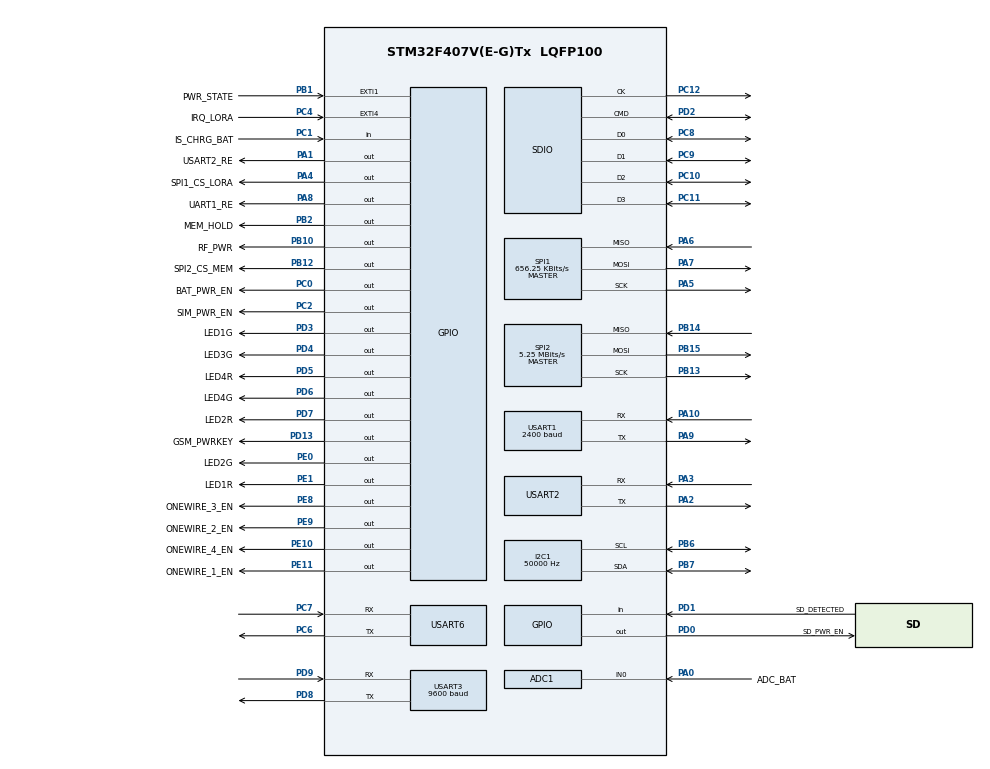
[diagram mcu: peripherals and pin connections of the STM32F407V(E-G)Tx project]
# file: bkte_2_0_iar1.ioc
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ADC1.Channel-0\#ChannelRegularConversion=ADC_CHANNEL_0
ADC1.NbrOfConversion=1
ADC1.NbrOfConversionFlag=1
ADC1.Rank-0\#ChannelRegularConversion=1
ADC1.SamplingTime-0\#ChannelRegularConversion=ADC_SAMPLETIME_3CYCLES
ADC1.master=1
Dma.Request0=SDIO_RX
Dma.Request1=SDIO_TX
Dma.Request2=USART6_RX
Dma.Request3=USART6_TX
Dma.Request4=USART1_RX
Dma.Request5=SPI2_RX
Dma.Request6=SPI2_TX
Dma.Request7=USART2_RX
Dma.SDIO_RX.0.Direction=DMA_PERIPH_TO_MEMORY
Dma.SDIO_RX.0.FIFOMode=DMA_FIFOMODE_ENABLE
Dma.SDIO_RX.0.FIFOThreshold=DMA_FIFO_THRESHOLD_FULL
Dma.SDIO_RX.0.Instance=DMA2_Stream3
Dma.SDIO_RX.0.MemBurst=DMA_MBURST_INC4
Dma.SDIO_RX.0.MemDataAlignment=DMA_MDATAALIGN_WORD
Dma.SDIO_RX.0.MemInc=DMA_MINC_ENABLE
Dma.SDIO_RX.0.Mode=DMA_PFCTRL
Dma.SDIO_RX.0.PeriphBurst=DMA_PBURST_INC4
Dma.SDIO_RX.0.PeriphDataAlignment=DMA_PDATAALIGN_WORD
Dma.SDIO_RX.0.PeriphInc=DMA_PINC_DISABLE
Dma.SDIO_RX.0.Priority=DMA_PRIORITY_LOW
Dma.SDIO_TX.1.Direction=DMA_MEMORY_TO_PERIPH
Dma.SDIO_TX.1.FIFOMode=DMA_FIFOMODE_ENABLE
Dma.SDIO_TX.1.FIFOThreshold=DMA_FIFO_THRESHOLD_FULL
Dma.SDIO_TX.1.Instance=DMA2_Stream6
Dma.SDIO_TX.1.MemBurst=DMA_MBURST_INC4
Dma.SDIO_TX.1.MemDataAlignment=DMA_MDATAALIGN_WORD
Dma.SDIO_TX.1.MemInc=DMA_MINC_ENABLE
Dma.SDIO_TX.1.Mode=DMA_PFCTRL
Dma.SDIO_TX.1.PeriphBurst=DMA_PBURST_INC4
Dma.SDIO_TX.1.PeriphDataAlignment=DMA_PDATAALIGN_WORD
Dma.SDIO_TX.1.PeriphInc=DMA_PINC_DISABLE
Dma.SDIO_TX.1.Priority=DMA_PRIORITY_LOW
Dma.SPI2_RX.5.Direction=DMA_PERIPH_TO_MEMORY
Dma.SPI2_RX.5.FIFOMode=DMA_FIFOMODE_DISABLE
Dma.SPI2_RX.5.Instance=DMA1_Stream3
Dma.SPI2_RX.5.MemDataAlignment=DMA_MDATAALIGN_BYTE
Dma.SPI2_RX.5.MemInc=DMA_MINC_ENABLE
Dma.SPI2_RX.5.Mode=DMA_NORMAL
Dma.SPI2_RX.5.PeriphDataAlignment=DMA_PDATAALIGN_BYTE
Dma.SPI2_RX.5.PeriphInc=DMA_PINC_DISABLE
Dma.SPI2_RX.5.Priority=DMA_PRIORITY_LOW
Dma.SPI2_TX.6.Direction=DMA_MEMORY_TO_PERIPH
Dma.SPI2_TX.6.FIFOMode=DMA_FIFOMODE_DISABLE
Dma.SPI2_TX.6.Instance=DMA1_Stream4
Dma.SPI2_TX.6.MemDataAlignment=DMA_MDATAALIGN_BYTE
Dma.SPI2_TX.6.MemInc=DMA_MINC_ENABLE
Dma.SPI2_TX.6.Mode=DMA_NORMAL
Dma.SPI2_TX.6.PeriphDataAlignment=DMA_PDATAALIGN_BYTE
Dma.SPI2_TX.6.PeriphInc=DMA_PINC_DISABLE
Dma.SPI2_TX.6.Priority=DMA_PRIORITY_LOW
Dma.USART1_RX.4.Direction=DMA_PERIPH_TO_MEMORY
Dma.USART1_RX.4.FIFOMode=DMA_FIFOMODE_DISABLE
Dma.USART1_RX.4.Instance=DMA2_Stream2
Dma.USART1_RX.4.MemDataAlignment=DMA_MDATAALIGN_HALFWORD
Dma.USART1_RX.4.MemInc=DMA_MINC_ENABLE
Dma.USART1_RX.4.Mode=DMA_NORMAL
Dma.USART1_RX.4.PeriphDataAlignment=DMA_PDATAALIGN_HALFWORD
Dma.USART1_RX.4.PeriphInc=DMA_PINC_DISABLE
Dma.USART1_RX.4.Priority=DMA_PRIORITY_VERY_HIGH
Dma.USART2_RX.7.Direction=DMA_PERIPH_TO_MEMORY
Dma.USART2_RX.7.FIFOMode=DMA_FIFOMODE_ENABLE
Dma.USART2_RX.7.FIFOThreshold=DMA_FIFO_THRESHOLD_FULL
Dma.USART2_RX.7.Instance=DMA1_Stream5
Dma.USART2_RX.7.MemBurst=DMA_MBURST_SINGLE
Dma.USART2_RX.7.MemDataAlignment=DMA_MDATAALIGN_BYTE
Dma.USART2_RX.7.MemInc=DMA_MINC_ENABLE
Dma.USART2_RX.7.Mode=DMA_NORMAL
Dma.USART2_RX.7.PeriphBurst=DMA_PBURST_SINGLE
Dma.USART2_RX.7.PeriphDataAlignment=DMA_PDATAALIGN_BYTE
Dma.USART2_RX.7.PeriphInc=DMA_PINC_DISABLE
Dma.USART2_RX.7.Priority=DMA_PRIORITY_LOW
Dma.USART6_RX.2.Direction=DMA_PERIPH_TO_MEMORY
Dma.USART6_RX.2.FIFOMode=DMA_FIFOMODE_DISABLE
Dma.USART6_RX.2.Instance=DMA2_Stream1
Dma.USART6_RX.2.MemDataAlignment=DMA_MDATAALIGN_BYTE
Dma.USART6_RX.2.MemInc=DMA_MINC_ENABLE
Dma.USART6_RX.2.Mode=DMA_CIRCULAR
Dma.USART6_RX.2.PeriphDataAlignment=DMA_PDATAALIGN_BYTE
Dma.USART6_RX.2.PeriphInc=DMA_PINC_DISABLE
Dma.USART6_RX.2.Priority=DMA_PRIORITY_LOW
Dma.USART6_TX.3.Direction=DMA_MEMORY_TO_PERIPH
Dma.USART6_TX.3.FIFOMode=DMA_FIFOMODE_DISABLE
Dma.USART6_TX.3.Instance=DMA2_Stream7
Dma.USART6_TX.3.MemDataAlignment=DMA_MDATAALIGN_BYTE
Dma.USART6_TX.3.MemInc=DMA_MINC_ENABLE
Dma.USART6_TX.3.Mode=DMA_NORMAL
Dma.USART6_TX.3.PeriphDataAlignment=DMA_PDATAALIGN_BYTE
Dma.USART6_TX.3.PeriphInc=DMA_PINC_DISABLE
Dma.USART6_TX.3.Priority=DMA_PRIORITY_LOW
FATFS.BSP.number=1
FATFS.USE_DMA_CODE_SD=1
FATFS._MAX_SS=4096
FATFS._MIN_SS=512
FATFS0.BSP.STBoard=false
FATFS0.BSP.api=Unknown
FATFS0.BSP.i2caddr=0
FATFS0.BSP.instance=PD1
FATFS0.BSP.ip=GPIO
FATFS0.BSP.mode=Input
FATFS0.BSP.name=Detect_SDIO
FATFS0.BSP.solution=PD1
FREERTOS.BinarySemaphores01=semLoraRxPckg,Dynamic,NULL;semCreateWebPckg,Dynamic,NULL
FREERTOS.MEMORY_ALLOCATION=2
FREERTOS.Mutexes01=mutexWriteToEnergyBuf,Dynamic,NULL;mutexWeb,Dynamic,NULL;mutexRTC,Dynamic,NULL;mutexSD,Dynamic,NULL;mutexSpiFlash,Dynamic,NULL
FREERTOS.Queues01=queueWebPckg,3,WebPckg*,0,Dynamic,NULL,NULL
FREERTOS.Tasks01=getEnergy,0,300,taskGetEnergy,As weak,NULL,Dynamic,NULL,NULL;getNewBin,0,300,taskGetNewBin,As weak,NULL,Dynamic,NULL,NULL;keepAlive,0,300,taskKeepAlive,As weak,NULL,Dynamic,NULL,NULL;webExchange,0,300,taskWebExchange,As weak,NULL,Dynamic,NULL,NULL;getTemp,0,300,taskGetTemp,As weak,NULL,Dynamic,NULL,NULL;manageIWDG,0,128,taskManageIWDG,As weak,NULL,Dynamic,NULL,NULL;lora,0,256,taskLora,As weak,NULL,Dynamic,NULL,NULL;createWebPckg,0,300,taskCreateWebPckg,As weak,NULL,Dynamic,NULL,NULL;wirelessSens,0,300,taskWirelessSens,As weak,NULL,Dynamic,NULL,NULL
FREERTOS.Timers01=timerPowerOff,timerPowerOff_callback,osTimerOnce,As weak,NULL,Dynamic,NULL
FREERTOS.configTIMER_QUEUE_LENGTH=1
FREERTOS.configTIMER_TASK_STACK_DEPTH=128
FREERTOS.configTOTAL_HEAP_SIZE=15000
FREERTOS.configUSE_TIMERS=1
I2C1.ClockSpeed=50000
IWDG.Prescaler=IWDG_PRESCALER_256
Mcu.Family=STM32F4
Mcu.Name=STM32F407V(E-G)Tx
Mcu.Package=LQFP100
NVIC.DMA1_Stream3_IRQn=true\:5\:0\:true\:false\:true\:false\:false\:true
NVIC.DMA1_Stream4_IRQn=true\:5\:0\:true\:false\:true\:false\:false\:true
NVIC.DMA1_Stream5_IRQn=true\:5\:0\:false\:false\:true\:true\:false\:true
NVIC.DMA2_Stream1_IRQn=true\:5\:0\:true\:false\:true\:false\:false\:true
NVIC.DMA2_Stream2_IRQn=true\:5\:0\:true\:false\:true\:false\:false\:true
NVIC.DMA2_Stream3_IRQn=true\:5\:0\:true\:false\:true\:false\:false\:true
NVIC.DMA2_Stream6_IRQn=true\:5\:0\:true\:false\:true\:false\:false\:true
NVIC.DMA2_Stream7_IRQn=true\:5\:0\:true\:false\:true\:false\:false\:true
NVIC.EXTI1_IRQn=true\:5\:0\:true\:false\:true\:false\:true\:true
NVIC.EXTI4_IRQn=true\:5\:0\:true\:false\:true\:false\:true\:true
NVIC.I2C1_ER_IRQn=true\:5\:0\:true\:false\:true\:false\:true\:true
NVIC.I2C1_EV_IRQn=true\:5\:0\:true\:false\:true\:false\:true\:true
NVIC.PriorityGroup=NVIC_PRIORITYGROUP_4
NVIC.SDIO_IRQn=true\:5\:0\:true\:false\:true\:false\:true\:true
NVIC.SPI1_IRQn=true\:5\:0\:true\:false\:true\:false\:true\:true
NVIC.SPI2_IRQn=true\:5\:0\:true\:false\:true\:false\:true\:true
NVIC.TIM1_UP_TIM10_IRQn=true\:0\:0\:false\:false\:true\:false\:false\:true
NVIC.TimeBase=TIM1_UP_TIM10_IRQn
NVIC.TimeBaseIP=TIM1
NVIC.USART1_IRQn=true\:5\:0\:true\:false\:true\:false\:true\:true
NVIC.USART2_IRQn=true\:5\:0\:false\:false\:true\:true\:true\:true
NVIC.USART3_IRQn=true\:5\:0\:true\:false\:true\:false\:true\:true
NVIC.USART6_IRQn=true\:5\:0\:true\:false\:true\:false\:true\:true
PA0-WKUP.GPIO_Label=ADC_BAT
PA0-WKUP.Signal=ADCx_IN0
PA1.GPIO_Label=USART2_RE
PA1.Signal=GPIO_Output
PA10.Mode=Asynchronous
PA10.Signal=USART1_RX
PA13.Mode=Serial_Wire
PA13.Signal=SYS_JTMS-SWDIO
PA14.Mode=Serial_Wire
PA14.Signal=SYS_JTCK-SWCLK
PA2.Mode=Asynchronous
PA2.Signal=USART2_TX
PA3.Mode=Asynchronous
PA3.Signal=USART2_RX
PA4.GPIO_Label=SPI1_CS_LORA
PA4.Signal=GPIO_Output
PA5.Mode=Full_Duplex_Master
PA5.Signal=SPI1_SCK
PA6.Mode=Full_Duplex_Master
PA6.Signal=SPI1_MISO
PA7.Mode=Full_Duplex_Master
PA7.Signal=SPI1_MOSI
PA8.GPIO_Label=UART1_RE
PA8.Signal=GPIO_Output
PA9.Mode=Asynchronous
PA9.Signal=USART1_TX
PB1.GPIO_Label=PWR_STATE
PB1.Signal=GPXTI1
PB10.GPIO_Label=RF_PWR
PB10.Signal=GPIO_Output
PB12.GPIO_Label=SPI2_CS_MEM
PB12.Signal=GPIO_Output
PB13.Mode=Full_Duplex_Master
PB13.Signal=SPI2_SCK
PB14.Mode=Full_Duplex_Master
PB14.Signal=SPI2_MISO
PB15.Mode=Full_Duplex_Master
PB15.Signal=SPI2_MOSI
PB2.GPIO_Label=MEM_HOLD
PB2.Signal=GPIO_Output
PB6.Mode=I2C
PB6.Signal=I2C1_SCL
PB7.Mode=I2C
PB7.Signal=I2C1_SDA
PC0.GPIO_Label=BAT_PWR_EN
PC0.Signal=GPIO_Output
PC1.GPIO_Label=IS_CHRG_BAT
PC1.Signal=GPIO_Input
PC10.Mode=SD_4_bits_Wide_bus
PC10.Signal=SDIO_D2
PC11.Mode=SD_4_bits_Wide_bus
PC11.Signal=SDIO_D3
PC12.Mode=SD_4_bits_Wide_bus
PC12.Signal=SDIO_CK
PC14-OSC32_IN.Mode=LSE-External-Oscillator
PC14-OSC32_IN.Signal=RCC_OSC32_IN
PC15-OSC32_OUT.Mode=LSE-External-Oscillator
PC15-OSC32_OUT.Signal=RCC_OSC32_OUT
PC2.GPIO_Label=SIM_PWR_EN
PC2.Signal=GPIO_Output
PC4.GPIO_Label=IRQ_LORA
PC4.Signal=GPXTI4
PC6.Mode=Asynchronous
PC6.Signal=USART6_TX
PC7.Mode=Asynchronous
PC7.Signal=USART6_RX
PC8.Mode=SD_4_bits_Wide_bus
PC8.Signal=SDIO_D0
PC9.Mode=SD_4_bits_Wide_bus
PC9.Signal=SDIO_D1
PD0.GPIO_Label=SD_PWR_EN
PD0.Signal=GPIO_Output
PD1.GPIO_Label=SD_DETECTED
PD1.Signal=GPIO_Input
PD13.GPIO_Label=GSM_PWRKEY
PD13.Signal=GPIO_Output
PD2.Mode=SD_4_bits_Wide_bus
PD2.Signal=SDIO_CMD
PD3.GPIO_Label=LED1G
PD3.Signal=GPIO_Output
PD4.GPIO_Label=LED3G
PD4.Signal=GPIO_Output
PD5.GPIO_Label=LED4R
PD5.Signal=GPIO_Output
PD6.GPIO_Label=LED4G
PD6.Signal=GPIO_Output
PD7.GPIO_Label=LED2R
PD7.Signal=GPIO_Output
PD8.Mode=Asynchronous
PD8.Signal=USART3_TX
PD9.Mode=Asynchronous
PD9.Signal=USART3_RX
PE0.GPIO_Label=LED2G
PE0.Signal=GPIO_Output
PE1.GPIO_Label=LED1R
PE1.Signal=GPIO_Output
PE10.GPIO_Label=ONEWIRE_4_EN
PE10.Signal=GPIO_Output
PE11.GPIO_Label=ONEWIRE_1_EN
PE11.Signal=GPIO_Output
PE8.GPIO_Label=ONEWIRE_3_EN
PE8.Signal=GPIO_Output
PE9.GPIO_Label=ONEWIRE_2_EN
PE9.Signal=GPIO_Output
PH0-OSC_IN.Mode=HSE-External-Oscillator
PH0-OSC_IN.Signal=RCC_OSC_IN
PH1-OSC_OUT.Mode=HSE-External-Oscillator
PH1-OSC_OUT.Signal=RCC_OSC_OUT
ProjectManager.HeapSize=0x200
ProjectManager.StackSize=0x400
ProjectManager.TargetToolchain=EWARM V8.32
RCC.48MHZClocksFreq_Value=22400000
RCC.AHBFreq_Value=168000000
RCC.APB1CLKDivider=RCC_HCLK_DIV4
RCC.APB1Freq_Value=42000000
RCC.APB1TimFreq_Value=84000000
RCC.APB2CLKDivider=RCC_HCLK_DIV2
RCC.APB2Freq_Value=84000000
RCC.APB2TimFreq_Value=168000000
RCC.CortexFreq_Value=168000000
RCC.HCLKFreq_Value=168000000
RCC.HSE_VALUE=16000000
RCC.HSI_VALUE=16000000
RCC.PLLN=336
RCC.PLLQ=15
RCC.PLLSourceVirtual=RCC_PLLSOURCE_HSE
RCC.RCC_RTC_Clock_Source=RCC_RTCCLKSOURCE_LSE
RCC.RCC_RTC_Clock_SourceVirtual=RCC_RTCCLKSOURCE_LSE
RCC.SYSCLKFreq_VALUE=168000000
RCC.SYSCLKSource=RCC_SYSCLKSOURCE_PLLCLK
RCC.VCOOutputFreq_Value=336000000
RTC.Date=28
RTC.Format=RTC_FORMAT_BIN
RTC.Hours=23
RTC.Minutes=59
RTC.Month=RTC_MONTH_MARCH
RTC.WeekDay=RTC_WEEKDAY_SATURDAY
RTC.Year=21
SDIO.ClockDiv=25
SH.ADCx_IN0.0=ADC1_IN0,IN0
SPI1.BaudRatePrescaler=SPI_BAUDRATEPRESCALER_128
SPI1.CalculateBaudRate=656.25 KBits/s
SPI1.Direction=SPI_DIRECTION_2LINES
SPI1.Mode=SPI_MODE_MASTER
SPI1.VirtualType=VM_MASTER
SPI2.BaudRatePrescaler=SPI_BAUDRATEPRESCALER_8
SPI2.CalculateBaudRate=5.25 MBits/s
SPI2.Direction=SPI_DIRECTION_2LINES
SPI2.Mode=SPI_MODE_MASTER
SPI2.VirtualType=VM_MASTER
USART1.BaudRate=2400
USART1.VirtualMode=VM_ASYNC
USART1.WordLength=WORDLENGTH_9B
USART2.VirtualMode=VM_ASYNC
USART3.BaudRate=9600
USART3.VirtualMode=VM_ASYNC
USART6.VirtualMode=VM_ASYNC
VP_CRC_VS_CRC.Mode=CRC_Activate
VP_FATFS_VS_SDIO.Mode=SDIO
VP_FREERTOS_VS_CMSIS_V1.Mode=CMSIS_V1
VP_IWDG_VS_IWDG.Mode=IWDG_Activate
VP_RTC_VS_RTC_Activate.Mode=RTC_Enabled
VP_RTC_VS_RTC_Calendar.Mode=RTC_Calendar
VP_SYS_VS_tim1.Mode=TIM1
VP_TIM6_VS_ClockSourceINT.Mode=Enable_Timer
board=custom

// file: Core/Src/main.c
/* USER CODE BEGIN Header */
/**
  ******************************************************************************
  * @file           : main.c
  * @brief          : Main program body
  ******************************************************************************
  * @attention
  *
  * <h2><center>&copy; Copyright (c) 2020 STMicroelectronics.
  * All rights reserved.</center></h2>
  *
  * This software component is licensed by ST under Ultimate Liberty license
  * SLA0044, the "License"; You may not use this file except in compliance with
  * the License. You may obtain a copy of the License at:
  *                             www.st.com/SLA0044
  *
  ******************************************************************************
  */
/* USER CODE END Header */
#include "main.h"
#include "cmsis_os.h"
#include "adc.h"
#include "crc.h"
#include "dma.h"
#include "fatfs.h"
#include "i2c.h"
#include "iwdg.h"
#include "rtc.h"
#include "sdio.h"
#include "spi.h"
#include "tim.h"
#include "usart.h"
#include "gpio.h"

/* USER CODE BEGIN PV */
#include "../Utils/Inc/utils_bkte.h"
#include "../Drivers/Inc/simcom.h"
#include "../Utils/Inc/circularBuffer.h"
#include "fatfs.h"

CircularBuffer rxUart1CircBuf = {.buf = NULL, .max = 0};
CircularBuffer circBufAllPckgs = {.buf = NULL, .max = 0};

u8 bufPckgs[SZ_PAGE];
u8 uart1Buf[SZ_BUF_ENERGY_FROM_UART1];

BKTE bkte;
Urls urls;
/* USER CODE END PV */

void SystemClock_Config(void);
void MX_FREERTOS_Init(void);

int main(void)
{

  /* MCU Configuration--------------------------------------------------------*/

  /* Reset of all peripherals, Initializes the Flash interface and the Systick. */
  HAL_Init();

  /* Configure the system clock */
  SystemClock_Config();

  /* Initialize all configured peripherals */
  MX_GPIO_Init();
  MX_DMA_Init();
  MX_ADC1_Init();
  MX_SDIO_SD_Init();
  MX_SPI1_Init();
  MX_SPI2_Init();
  MX_FATFS_Init();
  MX_CRC_Init();
  MX_I2C1_Init();
  MX_USART3_UART_Init();
  MX_USART6_UART_Init();
  MX_RTC_Init();
  MX_IWDG_Init();
  MX_USART1_UART_Init();
  MX_TIM6_Init();
  MX_USART2_UART_Init();
  /* USER CODE BEGIN 2 */
  D(printf("OK: start version %d\r\n", BKTE_ID_FIRMWARE));
  FIRMWARE_INFO info = {.header = 0x1122334455667788,
		  .numFirmware = BKTE_ID_FIRMWARE, .verFirmware = BKTE_VER_BETA_FIRMWARE, .numTrainCar = BKTE_ID_TRAINCAR
  };
  cBufInit(&rxUart1CircBuf, uart1Buf, SZ_BUF_ENERGY_FROM_UART1, CIRC_TYPE_ENERGY_UART);
  cBufInit(&circBufAllPckgs, bufPckgs, SZ_PAGE, CIRC_TYPE_PCKG_ALL);
  HAL_GPIO_WritePin(GPIOB, MEM_HOLD_Pin, GPIO_PIN_SET);
  bkteInit();
  urlsInit();
  uartInitInfo();

//  simOn();
  /* USER CODE END 2 */

  /* Call init function for freertos objects (in freertos.c) */
  MX_FREERTOS_Init();
  /* Start scheduler */
  osKernelStart();

  /* We should never get here as control is now taken by the scheduler */
  /* Infinite loop */
  while (1)
  {

  }
}

void SystemClock_Config(void)
{
  LL_FLASH_SetLatency(LL_FLASH_LATENCY_5);
  while(LL_FLASH_GetLatency()!= LL_FLASH_LATENCY_5)
  {
  }
  LL_PWR_SetRegulVoltageScaling(LL_PWR_REGU_VOLTAGE_SCALE1);
  LL_RCC_HSE_Enable();

   /* Wait till HSE is ready */
  while(LL_RCC_HSE_IsReady() != 1)
  {

  }
  LL_RCC_LSI_Enable();

   /* Wait till LSI is ready */
  while(LL_RCC_LSI_IsReady() != 1)
  {

  }
  LL_PWR_EnableBkUpAccess();
  LL_RCC_LSE_Enable();

   /* Wait till LSE is ready */
  while(LL_RCC_LSE_IsReady() != 1)
  {

  }
  if(LL_RCC_GetRTCClockSource() != LL_RCC_RTC_CLKSOURCE_LSE)
  {
    LL_RCC_ForceBackupDomainReset();
    LL_RCC_ReleaseBackupDomainReset();
    LL_RCC_SetRTCClockSource(LL_RCC_RTC_CLKSOURCE_LSE);
  }
  LL_RCC_EnableRTC();
  LL_RCC_PLL_ConfigDomain_SYS(LL_RCC_PLLSOURCE_HSE, LL_RCC_PLLM_DIV_16, 336, LL_RCC_PLLP_DIV_2);
  LL_RCC_PLL_Enable();

   /* Wait till PLL is ready */
  while(LL_RCC_PLL_IsReady() != 1)
  {

  }
  LL_RCC_SetAHBPrescaler(LL_RCC_SYSCLK_DIV_1);
  LL_RCC_SetAPB1Prescaler(LL_RCC_APB1_DIV_4);
  LL_RCC_SetAPB2Prescaler(LL_RCC_APB2_DIV_2);
  LL_RCC_SetSysClkSource(LL_RCC_SYS_CLKSOURCE_PLL);

   /* Wait till System clock is ready */
  while(LL_RCC_GetSysClkSource() != LL_RCC_SYS_CLKSOURCE_STATUS_PLL)
  {

  }
  LL_SetSystemCoreClock(168000000);

   /* Update the time base */
  if (HAL_InitTick (TICK_INT_PRIORITY) != HAL_OK)
  {
    Error_Handler();
  }
}

/* USER CODE BEGIN 4 */
u8 waitTx(char* waitStr, IrqFlags* pFlags, u16 pause, u32 timeout){
	u32 tout = 0;
	while(!pFlags->isIrqTx && tout < timeout){
		osDelay(pause);
		tout += pause;
	}
    if(strlen(waitStr) > 1) D(printf("%s timeout: %d\r\n", waitStr, tout));
  return pFlags->isIrqTx;
}

u8 waitRx(char* waitStr, IrqFlags* pFlags, u16 pause, u32 timeout){
	u32 tout = 0;
	while(!(pFlags->isIrqRx) && tout < timeout){
		osDelay(pause);
		tout += pause;
	}
    if(strlen(waitStr) > 1) D(printf("%s timeout: %d\r\n", waitStr, tout));
  return pFlags->isIrqRx;
}

u8 waitIdle(char* waitStr, IrqFlags* pFlags, u16 pause, u32 timeout){
	u32 tout = 0;
	while(!(pFlags->isIrqIdle) && tout < timeout){
		osDelay(pause);
		tout += pause;
	}
    if(strlen(waitStr) > 1) D(printf("%s timeout: %d\r\n", waitStr, tout));
  return pFlags->isIrqIdle;
}

u8 waitIdleCnt(char* waitStr, IrqFlags* pFlags, u8 cnt, u16 pause, u32 timeout){
	u32 tout = 0;
	while((pFlags->isIrqIdle) < cnt && tout < timeout){
		osDelay(pause);
		tout += pause;
	}
    if(strlen(waitStr) > 1) D(printf("%s timeout: %d\r\n", waitStr, tout));
  return pFlags->isIrqIdle;
}

void urlsInit(){
  urls.tcpAddr = URL_TCP_ADDR;
  urls.tcpPort = URL_TCP_PORT;
}

/* USER CODE END 4 */

 /**
  * @brief  Period elapsed callback in non blocking mode
  * @note   This function is called  when TIM1 interrupt took place, inside
  * HAL_TIM_IRQHandler(). It makes a direct call to HAL_IncTick() to increment
  * a global variable "uwTick" used as application time base.
  * @param  htim : TIM handle
  * @retval None
  */
void HAL_TIM_PeriodElapsedCallback(TIM_HandleTypeDef *htim)
{
  if (htim->Instance == TIM1) {
    HAL_IncTick();
  }
}

void Error_Handler(void)
{
}

/************************ (C) COPYRIGHT STMicroelectronics *****END OF FILE****/

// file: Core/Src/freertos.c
/* USER CODE BEGIN Header */
/**
  ******************************************************************************
  * File Name          : freertos.c
  * Description        : Code for freertos applications
  ******************************************************************************
  * @attention
  *
  * <h2><center>&copy; Copyright (c) 2020 STMicroelectronics.
  * All rights reserved.</center></h2>
  *
  * This software component is licensed by ST under Ultimate Liberty license
  * SLA0044, the "License"; You may not use this file except in compliance with
  * the License. You may obtain a copy of the License at:
  *                             www.st.com/SLA0044
  *
  ******************************************************************************
  */
/* USER CODE END Header */

#include "FreeRTOS.h"

#include "cmsis_os.h"
#include "main.h"
#include "task.h"

/* USER CODE BEGIN Variables */
#include "../Utils/Inc/utils_pckgs_manager.h"
#include "usart.h"

/* USER CODE END Variables */
osThreadId getEnergyHandle;
osThreadId getNewBinHandle;
osThreadId keepAliveHandle;
osThreadId webExchangeHandle;
osThreadId getTempHandle;
osThreadId manageIWDGHandle;
// osThreadId loraHandle;
osThreadId    createWebPckgHandle;
osThreadId    wirelessSensHandle;
osMessageQId  queueWebPckgHandle;
osTimerId     timerPowerOffHandle;
osMutexId     mutexWriteToEnergyBufHandle;
osMutexId     mutexWebHandle;
osMutexId     mutexRTCHandle;
osMutexId     mutexSDHandle;
osMutexId     mutexSpiFlashHandle;
osSemaphoreId semLoraRxPckgHandle;
osSemaphoreId semCreateWebPckgHandle;

void taskGetEnergy(void const *argument);
void taskGetNewBin(void const *argument);
void taskKeepAlive(void const *argument);
void taskWebExchange(void const *argument);
void taskGetTemp(void const *argument);
void taskManageIWDG(void const *argument);
void taskLora(void const *argument);
void taskCreateWebPckg(void const *argument);
void taskWirelessSens(void const *argument);
void timerPowerOff_callback(void const *argument);

void MX_FREERTOS_Init(void); /* (MISRA C 2004 rule 8.1) */

/* GetIdleTaskMemory prototype (linked to static allocation support) */
void vApplicationGetIdleTaskMemory(StaticTask_t **ppxIdleTaskTCBBuffer, StackType_t **ppxIdleTaskStackBuffer, uint32_t *pulIdleTaskStackSize);

/* GetTimerTaskMemory prototype (linked to static allocation support) */
void vApplicationGetTimerTaskMemory(StaticTask_t **ppxTimerTaskTCBBuffer, StackType_t **ppxTimerTaskStackBuffer, uint32_t *pulTimerTaskStackSize);

/* USER CODE BEGIN GET_IDLE_TASK_MEMORY */
static StaticTask_t xIdleTaskTCBBuffer;
static StackType_t  xIdleStack[configMINIMAL_STACK_SIZE];

void vApplicationGetIdleTaskMemory(StaticTask_t **ppxIdleTaskTCBBuffer, StackType_t **ppxIdleTaskStackBuffer, uint32_t *pulIdleTaskStackSize) {
    *ppxIdleTaskTCBBuffer = &xIdleTaskTCBBuffer;
    *ppxIdleTaskStackBuffer = &xIdleStack[0];
    *pulIdleTaskStackSize = configMINIMAL_STACK_SIZE;
    /* place for user code */
}
/* USER CODE END GET_IDLE_TASK_MEMORY */

/* USER CODE BEGIN GET_TIMER_TASK_MEMORY */
static StaticTask_t xTimerTaskTCBBuffer;
static StackType_t  xTimerStack[configTIMER_TASK_STACK_DEPTH];

void vApplicationGetTimerTaskMemory(StaticTask_t **ppxTimerTaskTCBBuffer, StackType_t **ppxTimerTaskStackBuffer, uint32_t *pulTimerTaskStackSize) {
    *ppxTimerTaskTCBBuffer = &xTimerTaskTCBBuffer;
    *ppxTimerTaskStackBuffer = &xTimerStack[0];
    *pulTimerTaskStackSize = configTIMER_TASK_STACK_DEPTH;
    /* place for user code */
}
/* USER CODE END GET_TIMER_TASK_MEMORY */

void MX_FREERTOS_Init(void) {
    /* Create the mutex(es) */
    /* definition and creation of mutexWriteToEnergyBuf */
    osMutexDef(mutexWriteToEnergyBuf);
    mutexWriteToEnergyBufHandle = osMutexCreate(osMutex(mutexWriteToEnergyBuf));

    /* definition and creation of mutexWeb */
    osMutexDef(mutexWeb);
    mutexWebHandle = osMutexCreate(osMutex(mutexWeb));

    /* definition and creation of mutexRTC */
    osMutexDef(mutexRTC);
    mutexRTCHandle = osMutexCreate(osMutex(mutexRTC));

    /* definition and creation of mutexSD */
    osMutexDef(mutexSD);
    mutexSDHandle = osMutexCreate(osMutex(mutexSD));

    /* definition and creation of mutexSpiFlash */
    osMutexDef(mutexSpiFlash);
    mutexSpiFlashHandle = osMutexCreate(osMutex(mutexSpiFlash));

    /* Create the semaphores(s) */
    /* definition and creation of semLoraRxPckg */
    osSemaphoreDef(semLoraRxPckg);
    semLoraRxPckgHandle = osSemaphoreCreate(osSemaphore(semLoraRxPckg), 1);

    /* definition and creation of semCreateWebPckg */
    osSemaphoreDef(semCreateWebPckg);
    semCreateWebPckgHandle = osSemaphoreCreate(osSemaphore(semCreateWebPckg), 1);

    /* Create the timer(s) */
    /* definition and creation of timerPowerOff */
    osTimerDef(timerPowerOff, timerPowerOff_callback);
    timerPowerOffHandle = osTimerCreate(osTimer(timerPowerOff), osTimerOnce, NULL);

    /* Create the queue(s) */
    /* definition and creation of queueWebPckg */
    osMessageQDef(queueWebPckg, 3, WebPckg *);
    queueWebPckgHandle = osMessageCreate(osMessageQ(queueWebPckg), NULL);

    /* Create the thread(s) */
    /* definition and creation of getEnergy */
    osThreadDef(getEnergy, taskGetEnergy, osPriorityNormal, 0, 320);
    getEnergyHandle = osThreadCreate(osThread(getEnergy), NULL);

    /* definition and creation of getNewBin */
    osThreadDef(getNewBin, taskGetNewBin, osPriorityNormal, 0, 320);
    getNewBinHandle = osThreadCreate(osThread(getNewBin), NULL);

    /* definition and creation of keepAlive */
    osThreadDef(keepAlive, taskKeepAlive, osPriorityNormal, 0, 320);
    keepAliveHandle = osThreadCreate(osThread(keepAlive), NULL);

    /* definition and creation of webExchange */
    osThreadDef(webExchange, taskWebExchange, osPriorityNormal, 0, 320);
    webExchangeHandle = osThreadCreate(osThread(webExchange), NULL);

    /* definition and creation of getTemp */
    osThreadDef(getTemp, taskGetTemp, osPriorityNormal, 0, 320);
    getTempHandle = osThreadCreate(osThread(getTemp), NULL);

    /* definition and creation of manageIWDG */
    osThreadDef(manageIWDG, taskManageIWDG, osPriorityNormal, 0, 128);
    manageIWDGHandle = osThreadCreate(osThread(manageIWDG), NULL);

    /* definition and creation of createWebPckg */
    osThreadDef(createWebPckg, taskCreateWebPckg, osPriorityNormal, 0, 320);
    createWebPckgHandle = osThreadCreate(osThread(createWebPckg), NULL);

    /* definition and creation of wirelessSens */
    osThreadDef(wirelessSens, taskWirelessSens, osPriorityNormal, 0, 320);
    wirelessSensHandle = osThreadCreate(osThread(wirelessSens), NULL);

}

__weak void taskGetEnergy(void const *argument) {
    /* USER CODE BEGIN taskGetEnergy */
    /* Infinite loop */
    for (;;) {
        osDelay(50);
    }
    /* USER CODE END taskGetEnergy */
}

__weak void taskGetNewBin(void const *argument) {
    /* USER CODE BEGIN taskGetNewBin */
    /* Infinite loop */
    for (;;) {
        osDelay(1000);
    }
    /* USER CODE END taskGetNewBin */
}

__weak void taskKeepAlive(void const *argument) {
    for (;;) {
        osDelay(1);
    }
}

__weak void taskWebExchange(void const *argument) {
    /* USER CODE BEGIN taskWebExchange */
    /* Infinite loop */
    for (;;) {
        osDelay(3000);
    }
    /* USER CODE END taskWebExchange */
}

__weak void taskGetTemp(void const *argument) {
    for (;;) {
        osDelay(1);
    }
}

__weak void taskManageIWDG(void const *argument) {
    for (;;) {
        osDelay(1);
    }
}

__weak void taskLora(void const *argument) {
    for (;;) {
        osDelay(1);
    }
}

__weak void taskCreateWebPckg(void const *argument) {
    for (;;) {
        osDelay(1);
    }
}

__weak void taskWirelessSens(void const *argument) {
    for (;;) {
        osDelay(1);
    }
}

/* timerPowerOff_callback function */
__weak void timerPowerOff_callback(void const *argument) {
}

/************************ (C) COPYRIGHT STMicroelectronics *****END OF FILE****/
